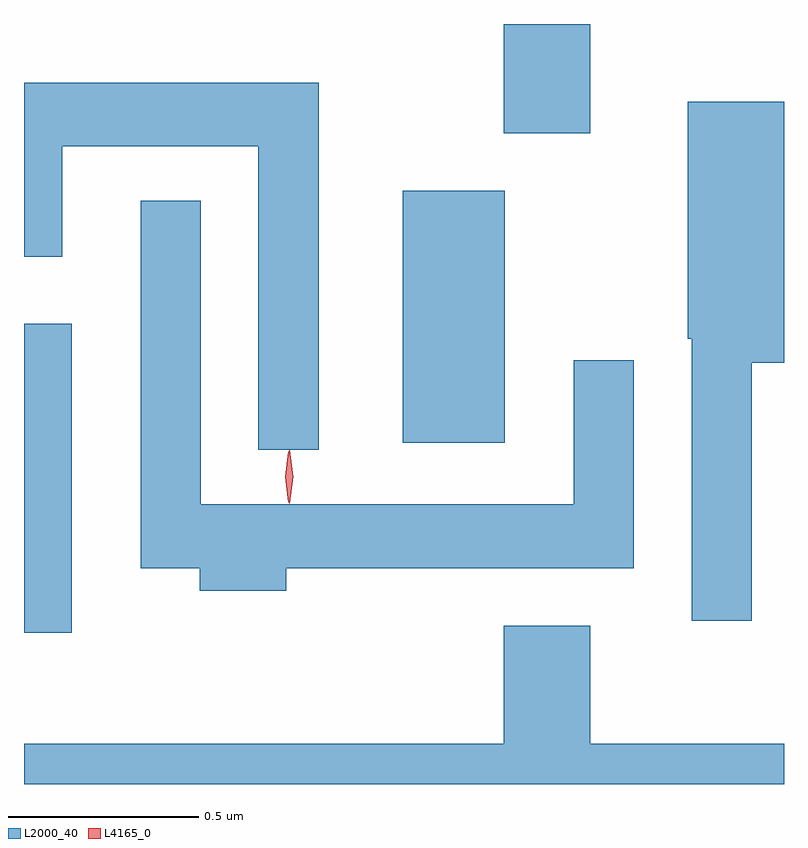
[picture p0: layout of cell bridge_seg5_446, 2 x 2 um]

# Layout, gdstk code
import gdstk
lib = gdstk.Library(unit=1e-6, precision=1e-09)
def R(c, l, rs):  # rectangles x0, y0, x1, y1
    for r in rs: c.add(gdstk.rectangle(r[:2], r[2:], *l))
def P(c, l, *ps):  # polygons
    for p in ps: c.add(gdstk.Polygon(p, *l))
L2000_40 = (2000, 40)
L4165_0 = (4165, 0)

bridge_seg5_446 = lib.new_cell('bridge_seg5_446')
R(bridge_seg5_446, L2000_40, [(532.459,1512.856,532.584,1513.669), (533.456,1513.356,533.724,1514.019), (533.721,1514.171,533.949,1514.458)])
P(bridge_seg5_446, L2000_40, [(533.234,1514.304),(532.459,1514.304),(532.459,1513.846),(532.559,1513.846),(532.559,1514.136),(533.076,1514.136),(533.076,1513.338),(533.234,1513.338)],
  [(534.374,1513.566),(534.459,1513.566),(534.459,1514.254),(534.206,1514.254),(534.206,1513.63),(534.216,1513.63),(534.216,1512.888),(534.374,1512.888)],
  [(533.149,1513.026),(534.064,1513.026),(534.064,1513.573),(533.906,1513.573),(533.906,1513.194),(532.924,1513.194),(532.924,1513.993),(532.766,1513.993),(532.766,1513.026),(532.921,1513.026),(532.921,1512.966),(533.149,1512.966)],
  [(534.459,1512.564),(533.949,1512.564),(533.949,1512.874),(533.721,1512.874),(533.721,1512.564),(532.459,1512.564),(532.459,1512.458),(534.459,1512.458)])
P(bridge_seg5_446, L4165_0, [(533.157,1513.197),(533.157,1513.197),(533.147,1513.267),(533.157,1513.336),(533.157,1513.336),(533.158,1513.336),(533.167,1513.267),(533.158,1513.197)],
  [(533.156,1513.199),(533.155,1513.2),(533.146,1513.266),(533.155,1513.332),(533.156,1513.333),(533.156,1513.332),(533.166,1513.266),(533.156,1513.2)])

lib.write_gds('bridge_seg5_446.gds')
